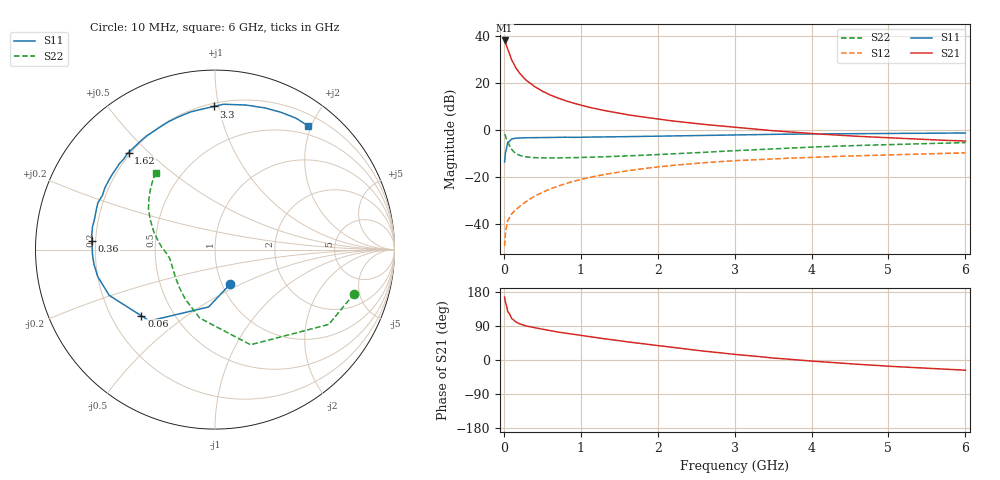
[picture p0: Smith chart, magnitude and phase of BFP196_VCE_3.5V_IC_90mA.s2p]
! Infineon Technologies  Discrete & RF Semiconductors
! BFP196
! VCE = 3.5 V,  IC =  90mA
! Common Emitter S-Parameters:  Jan 2016
# GHz  S  MA  R  50
!  f  S11  S21  S12  S22
! GHz  MAG  ANG  MAG  ANG  MAG  ANG  MAG  ANG
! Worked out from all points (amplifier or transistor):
!   210 points, 10 MHz to 6 GHz, reference 50 ohm
!   highest |S21| = 38.0 dB at 10 MHz (marker M1)
!   |S21| within 3 dB of that: start of sweep to 41.98 MHz
!   unconditionally stable (mu >= 1): 354.6 MHz to 4.799 GHz
!   at 185 MHz: K = 0.83, MSG = 29.1 dB, |S12| = -33.1 dB
!   at 1.52 GHz: K = 1.09, MAG = 10.6 dB, |S12| = -17.8 dB
!   at 6 GHz: K = 0.98, MSG = 2.5 dB, |S12| = -9.7 dB
!   S11 on the Smith chart (normalised r, x): 10 MHz: 1.10, -0.44; 60 MHz: 0.33, -0.35; 360 MHz: 0.19, +0.03; 1.62 GHz: 0.19, +0.43; 3.3 GHz: 0.22, +0.97; 6 GHz: 0.36, +1.96
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0.01  0.2091 -65.7  79.84 166.2  0.0034 76.2  0.8139 -17.5
0.02  0.3214 -96.3  73.02 153.1  0.0062 70.1  0.7588 -33.3
0.05  0.5399 -132.6  52.13 128.1  0.0118 54.2  0.566 -69.5
0.06  0.5517 -138.0  47.64 125.7  0.0127 53.5  0.52 -74.2
0.1  0.6421 -156.6  31.09 109.6  0.0163 51.6  0.3906 -102.6
0.15  0.6705 -167.0  21.62 101.0  0.0198 54.4  0.3224 -120.8
0.2  0.679 -173.0  16.46 95.7  0.0232 57.7  0.2915 -132.4
0.24  0.682 -176.4  13.84 92.9  0.0264 59.8  0.278 -139.1
0.3  0.6844 179.3  11.05 89.3  0.0308 62.7  0.2672 -146.3
0.36  0.688 176.0  9.427 87.0  0.0358 64.1  0.2612 -151.1
0.4  0.6917 173.8  8.355 85.0  0.0391 64.9  0.2582 -154.4
0.5  0.6942 169.4  6.687 81.2  0.047 66.3  0.2554 -159.5
0.6  0.6926 165.7  5.575 77.5  0.0557 66.1  0.2547 -163.0
0.8  0.7027 158.2  4.197 70.9  0.0723 64.8  0.257 -167.8
1.02  0.7036 150.2  3.311 64.3  0.0903 63.0  0.2612 -171.4
1.62  0.7243 131.7  2.093 47.6  0.1369 54.7  0.2824 -179.0
2.02  0.7397 120.4  1.692 37.5  0.1653 48.4  0.3015 176.0
3.1  0.7879 94.3  1.101 13.0  0.2267 31.9  0.3698 160.5
3.3  0.7978 90.4  1.031 9.4  0.2352 29.0  0.3839 157.6
4.1  0.8254 76.3  0.821 -4.2  0.2661 19.0  0.4404 147.2
5.1  0.8502 63.1  0.67 -17.4  0.2991 7.7  0.4941 136.5
6  0.863 52.9  0.583 -26.9  0.3266 -2.2  0.5403 127.5
